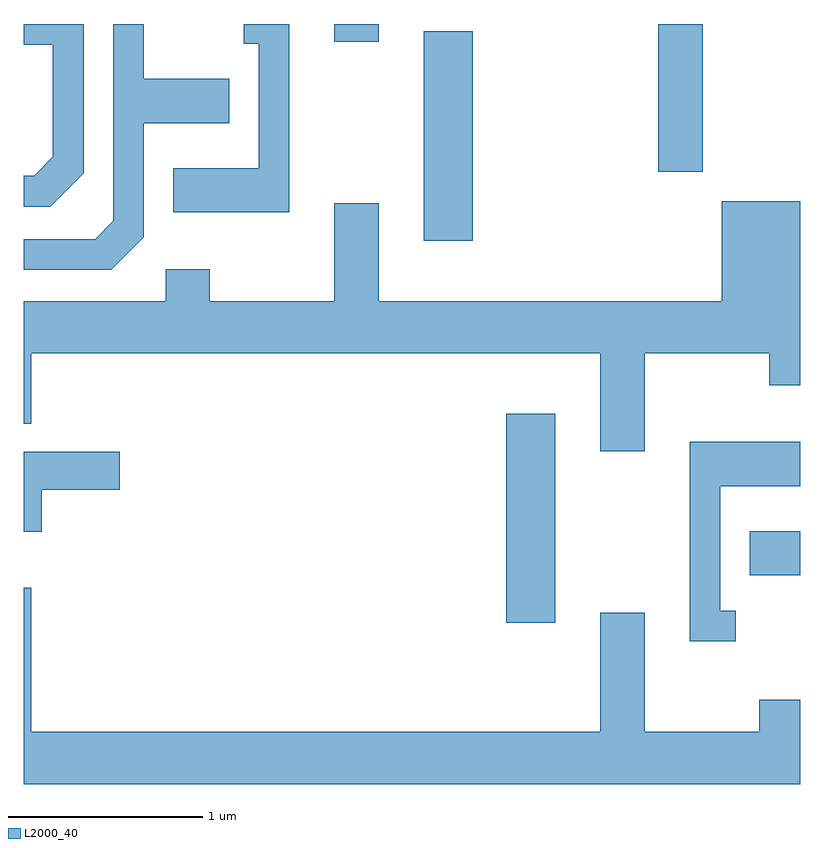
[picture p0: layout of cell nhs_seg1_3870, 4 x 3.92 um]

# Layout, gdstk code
import gdstk
lib = gdstk.Library(unit=1e-6, precision=1e-09)
def R(c, l, rs):  # rectangles x0, y0, x1, y1
    for r in rs: c.add(gdstk.rectangle(r[:2], r[2:], *l))
def P(c, l, *ps):  # polygons
    for p in ps: c.add(gdstk.Polygon(p, *l))
L2000_40 = (2000, 40)

nhs_seg1_3870 = lib.new_cell('nhs_seg1_3870')
R(nhs_seg1_3870, L2000_40, [(304.096,902.626,304.349,903.704), (305.351,902.871,305.611,903.099), (303.671,904.596,303.924,905.674), (304.881,904.951,305.109,905.712), (303.211,905.621,303.439,905.712)])
P(nhs_seg1_3870, L2000_40, [(301.919,904.944),(301.919,905.712),(301.611,905.712),(301.611,905.606),(301.761,905.606),(301.761,905.027),(301.664,904.929),(301.611,904.929),(301.611,904.771),(301.747,904.771)],
  [(302.979,905.712),(302.743,905.712),(302.743,905.611),(302.821,905.611),(302.821,904.969),(302.381,904.969),(302.381,904.741),(302.979,904.741)],
  [(302.229,904.614),(302.229,905.201),(302.669,905.201),(302.669,905.429),(302.229,905.429),(302.229,905.712),(302.071,905.712),(302.071,904.697),(301.979,904.604),(301.611,904.604),(301.611,904.446),(302.062,904.446)],
  [(304.581,903.511),(304.809,903.511),(304.809,904.016),(305.451,904.016),(305.451,903.851),(305.611,903.851),(305.611,904.799),(305.206,904.799),(305.206,904.284),(303.439,904.284),(303.439,904.789),(303.211,904.789),(303.211,904.284),(302.569,904.284),(302.569,904.449),(302.341,904.449),(302.341,904.284),(301.611,904.284),(301.611,903.653),(301.649,903.653),(301.649,904.016),(304.581,904.016)],
  [(305.278,902.689),(305.199,902.689),(305.199,903.331),(305.611,903.331),(305.611,903.559),(305.041,903.559),(305.041,902.531),(305.278,902.531)],
  [(301.704,903.311),(302.104,903.311),(302.104,903.509),(301.611,903.509),(301.611,903.096),(301.704,903.096)],
  [(305.611,902.229),(305.401,902.229),(305.401,902.064),(304.809,902.064),(304.809,902.679),(304.581,902.679),(304.581,902.064),(301.649,902.064),(301.649,902.808),(301.611,902.808),(301.611,901.796),(305.611,901.796)])

lib.write_gds('nhs_seg1_3870.gds')
